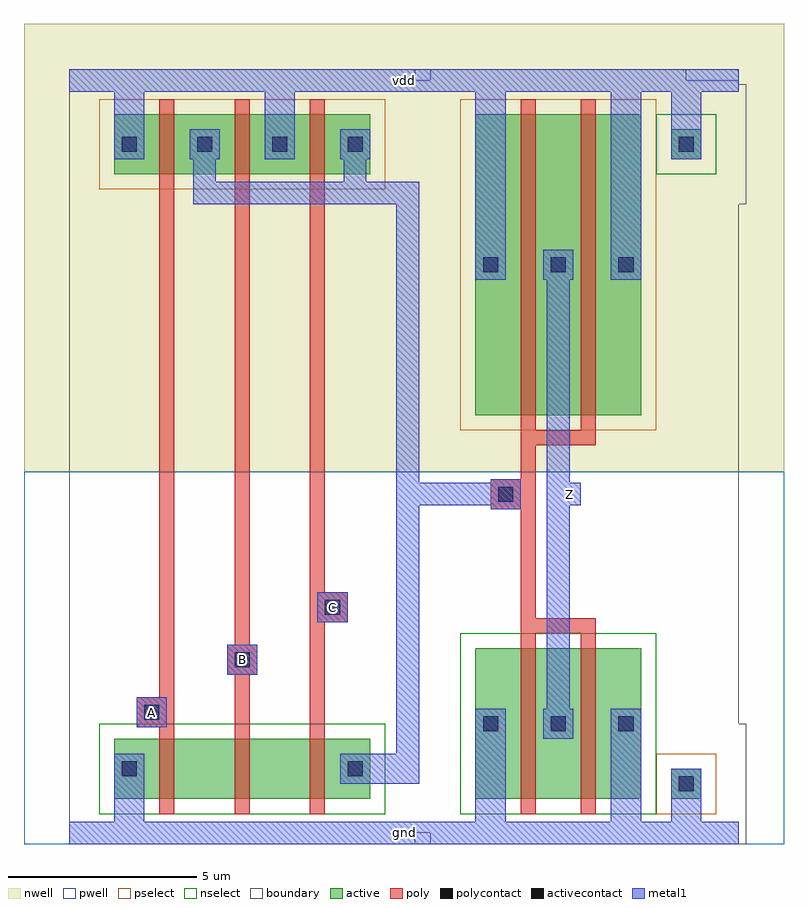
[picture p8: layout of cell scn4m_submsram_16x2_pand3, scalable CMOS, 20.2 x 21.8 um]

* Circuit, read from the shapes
.subckt scn4m_submsram_16x2_pand3 A B C Z gnd vdd
M1 scn4m_submsram_16x2_pnand3_0_0/scn4m_submsram_16x2_nmos_m1_w1_600_sm1_dactive_3/D A gnd gnd nfet w=1.6u l=0.4u
M2 scn4m_submsram_16x2_pnand3_0_0/scn4m_submsram_16x2_nmos_m1_w1_600_sactive_dactive_4/D B scn4m_submsram_16x2_pnand3_0_0/scn4m_submsram_16x2_nmos_m1_w1_600_sm1_dactive_3/D gnd nfet w=1.6u l=0.4u
M3 scn4m_submsram_16x2_pdriver_2_1/A C scn4m_submsram_16x2_pnand3_0_0/scn4m_submsram_16x2_nmos_m1_w1_600_sactive_dactive_4/D gnd nfet w=1.6u l=0.4u
M4 Z scn4m_submsram_16x2_pdriver_2_1/A gnd gnd nfet w=4u l=0.4u m=2
M5 scn4m_submsram_16x2_pdriver_2_1/A A vdd vdd pfet w=1.6u l=0.4u
M6 vdd B scn4m_submsram_16x2_pdriver_2_1/A vdd pfet w=1.6u l=0.4u
M7 scn4m_submsram_16x2_pdriver_2_1/A C vdd vdd pfet w=1.6u l=0.4u
M8 Z scn4m_submsram_16x2_pdriver_2_1/A vdd vdd pfet w=8u l=0.4u m=2
.ends

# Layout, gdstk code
import gdstk
lib = gdstk.Library(unit=1e-6, precision=1e-09)
def R(c, l, rs):  # rectangles x0, y0, x1, y1
    for r in rs: c.add(gdstk.rectangle(r[:2], r[2:], *l))
def A(c, l, x, y, w, h, nx, ny, dx, dy):  # array of equal rectangles
    R(c, l, [(x+i*dx, y+j*dy, x+i*dx+w, y+j*dy+h) for i in range(nx) for j in range(ny)])
pwell = (41, 0)
nwell = (42, 0)
active = (43, 0)
pselect = (44, 0)
nselect = (45, 0)
poly = (46, 0)
polycontact = (47, 0)
activecontact = (48, 0)
metal1 = (49, 0)
boundary = (63, 0)

scn4m_submsram_16x2_cont = lib.new_cell('scn4m_submsram_16x2_contact_12')
R(scn4m_submsram_16x2_cont, nwell, [(-1.2,-1.2,2,2)])
R(scn4m_submsram_16x2_cont, active, [(0,0,0.8,0.8)])
R(scn4m_submsram_16x2_cont, pselect, [(-0.4,-0.4,1.2,1.2)])
R(scn4m_submsram_16x2_cont, activecontact, [(0.2,0.2,0.6,0.6)])
R(scn4m_submsram_16x2_cont, metal1, [(0,0,0.8,0.8)])
R(scn4m_submsram_16x2_cont, boundary, [(-1.2,-1.2,2,2)])

scn4m_submsram_16x2_pmos = lib.new_cell('scn4m_submsram_16x2_pmos_m1_w1_600_sm1_dm1')
R(scn4m_submsram_16x2_pmos, nwell, [(-1.2,-1.2,4,2.8)])
R(scn4m_submsram_16x2_pmos, active, [(0,0,2.8,1.6)])
R(scn4m_submsram_16x2_pmos, pselect, [(-0.4,-0.4,3.2,2)])
R(scn4m_submsram_16x2_pmos, poly, [(1.2,-0.4,1.6,2), (1.2,-0.4,1.6,2)])
R(scn4m_submsram_16x2_pmos, metal1, [(0,0.4,0.8,1.2), (2,0.4,2.8,1.2)])
R(scn4m_submsram_16x2_pmos, boundary, [(-1.2,-1.2,4,2.8)])
scn4m_submsram_16x2_pmos.add(gdstk.Reference(scn4m_submsram_16x2_cont, (0,0.4)))
scn4m_submsram_16x2_pmos.add(gdstk.Reference(scn4m_submsram_16x2_cont, (2,0.4)))
scn4m_submsram_16x2_pmos.add(gdstk.Label('G', (1.4,0.8), layer=46, texttype=0))
scn4m_submsram_16x2_pmos.add(gdstk.Label('S', (0.4,0.8), layer=49, texttype=0))
scn4m_submsram_16x2_pmos.add(gdstk.Label('D', (2.4,0.8), layer=49, texttype=0))

c_scn4m_submsram_16x2_cont = lib.new_cell('scn4m_submsram_16x2_contact_11')
R(c_scn4m_submsram_16x2_cont, pwell, [(-1.2,-1.2,2,2)])
R(c_scn4m_submsram_16x2_cont, active, [(0,0,0.8,0.8)])
R(c_scn4m_submsram_16x2_cont, nselect, [(-0.4,-0.4,1.2,1.2)])
R(c_scn4m_submsram_16x2_cont, activecontact, [(0.2,0.2,0.6,0.6)])
R(c_scn4m_submsram_16x2_cont, metal1, [(0,0,0.8,0.8)])
R(c_scn4m_submsram_16x2_cont, boundary, [(-1.2,-1.2,2,2)])

scn4m_submsram_16x2_nmos = lib.new_cell('scn4m_submsram_16x2_nmos_m1_w1_600_sm1_dactive')
R(scn4m_submsram_16x2_nmos, pwell, [(-1.2,-1.2,4,2.8)])
R(scn4m_submsram_16x2_nmos, active, [(0,0,2.8,1.6), (2.1,0.5,2.7,1.1)])
R(scn4m_submsram_16x2_nmos, nselect, [(-0.4,-0.4,3.2,2)])
R(scn4m_submsram_16x2_nmos, poly, [(1.2,-0.4,1.6,2), (1.2,-0.4,1.6,2)])
R(scn4m_submsram_16x2_nmos, metal1, [(0,0.4,0.8,1.2)])
R(scn4m_submsram_16x2_nmos, boundary, [(-1.2,-1.2,4,2.8)])
scn4m_submsram_16x2_nmos.add(gdstk.Reference(c_scn4m_submsram_16x2_cont, (0,0.4)))
scn4m_submsram_16x2_nmos.add(gdstk.Label('G', (1.4,0.8), layer=46, texttype=0))
scn4m_submsram_16x2_nmos.add(gdstk.Label('S', (0.4,0.8), layer=49, texttype=0))
scn4m_submsram_16x2_nmos.add(gdstk.Label('D', (2.4,0.8), layer=43, texttype=0))

c_scn4m_submsram_16x2_nmos = lib.new_cell('scn4m_submsram_16x2_nmos_m1_w1_600_sactive_dactive')
R(c_scn4m_submsram_16x2_nmos, pwell, [(-1.2,-1.2,4,2.8)])
R(c_scn4m_submsram_16x2_nmos, active, [(0,0,2.8,1.6), (0.1,0.5,0.7,1.1), (2.1,0.5,2.7,1.1)])
R(c_scn4m_submsram_16x2_nmos, nselect, [(-0.4,-0.4,3.2,2)])
R(c_scn4m_submsram_16x2_nmos, poly, [(1.2,-0.4,1.6,2), (1.2,-0.4,1.6,2)])
R(c_scn4m_submsram_16x2_nmos, boundary, [(-1.2,-1.2,4,2.8)])
c_scn4m_submsram_16x2_nmos.add(gdstk.Label('G', (1.4,0.8), layer=46, texttype=0))
c_scn4m_submsram_16x2_nmos.add(gdstk.Label('S', (0.4,0.8), layer=43, texttype=0))
c_scn4m_submsram_16x2_nmos.add(gdstk.Label('D', (2.4,0.8), layer=43, texttype=0))

c_scn4m_submsram_16x2_nmos_ = lib.new_cell('scn4m_submsram_16x2_nmos_m1_w1_600_sactive_dm1')
R(c_scn4m_submsram_16x2_nmos_, pwell, [(-1.2,-1.2,4,2.8)])
R(c_scn4m_submsram_16x2_nmos_, active, [(0,0,2.8,1.6), (0.1,0.5,0.7,1.1)])
R(c_scn4m_submsram_16x2_nmos_, nselect, [(-0.4,-0.4,3.2,2)])
R(c_scn4m_submsram_16x2_nmos_, poly, [(1.2,-0.4,1.6,2), (1.2,-0.4,1.6,2)])
R(c_scn4m_submsram_16x2_nmos_, metal1, [(2,0.4,2.8,1.2)])
R(c_scn4m_submsram_16x2_nmos_, boundary, [(-1.2,-1.2,4,2.8)])
c_scn4m_submsram_16x2_nmos_.add(gdstk.Reference(c_scn4m_submsram_16x2_cont, (2,0.4)))
c_scn4m_submsram_16x2_nmos_.add(gdstk.Label('G', (1.4,0.8), layer=46, texttype=0))
c_scn4m_submsram_16x2_nmos_.add(gdstk.Label('S', (0.4,0.8), layer=43, texttype=0))
c_scn4m_submsram_16x2_nmos_.add(gdstk.Label('D', (2.4,0.8), layer=49, texttype=0))

c_scn4m_submsram_16x2_cont_ = lib.new_cell('scn4m_submsram_16x2_contact_15')
R(c_scn4m_submsram_16x2_cont_, poly, [(0,0,0.8,0.8)])
R(c_scn4m_submsram_16x2_cont_, polycontact, [(0.2,0.2,0.6,0.6)])
R(c_scn4m_submsram_16x2_cont_, metal1, [(0,0,0.8,0.8)])
R(c_scn4m_submsram_16x2_cont_, boundary, [(0,0,0.8,0.8)])

scn4m_submsram_16x2_pnan = lib.new_cell('scn4m_submsram_16x2_pnand3_0')
R(scn4m_submsram_16x2_pnan, pwell, [(-1.2,-0.3,10.8,9.6)])
R(scn4m_submsram_16x2_pnan, nwell, [(-1.2,9.6,10.8,21.5)])
A(scn4m_submsram_16x2_pnan, poly, 2.4, 2.9, 0.4, 14.2, 3, 1, 2, 0)
R(scn4m_submsram_16x2_pnan, poly, [(2.2,2.8,2.4,3.6), (4.4,4.2,4.6,5), (6.4,5.6,7,6.4)])
R(scn4m_submsram_16x2_pnan, metal1, [(0,-0.3,9.6,0.3), (1.2,-0.3,2,1.3), (7.6,1.3,9,2.1), (8.7,1.3,9.3,17), (1.8,2.8,2.6,3.6), (4.2,4.2,5,5), (6.6,5.6,7.4,6.4), (3.3,16.7,3.9,17.3), (3.6,16.7,9,17.3), (7.3,16.7,7.9,17.3), (7.6,16.7,9,17.3), (8.7,16.7,9.3,17.3), (3.3,17,3.9,18.3), (7.3,17,7.9,18.3), (1.2,17.9,2,20.3), (5.2,17.9,6,20.3), (0,19.7,9.6,20.3)])
R(scn4m_submsram_16x2_pnan, boundary, [(0,0,9.6,20), (0,0,9.6,20)])
scn4m_submsram_16x2_pnan.add(gdstk.Reference(scn4m_submsram_16x2_pmos, (1.2,17.5)))
scn4m_submsram_16x2_pnan.add(gdstk.Reference(scn4m_submsram_16x2_pmos, (3.2,17.5)))
scn4m_submsram_16x2_pnan.add(gdstk.Reference(scn4m_submsram_16x2_pmos, (5.2,17.5)))
scn4m_submsram_16x2_pnan.add(gdstk.Reference(scn4m_submsram_16x2_nmos, (1.2,0.9)))
scn4m_submsram_16x2_pnan.add(gdstk.Reference(c_scn4m_submsram_16x2_nmos, (3.2,0.9)))
scn4m_submsram_16x2_pnan.add(gdstk.Reference(c_scn4m_submsram_16x2_nmos_, (5.2,0.9)))
scn4m_submsram_16x2_pnan.add(gdstk.Reference(c_scn4m_submsram_16x2_cont_, (1.8,2.8)))
scn4m_submsram_16x2_pnan.add(gdstk.Reference(c_scn4m_submsram_16x2_cont_, (4.2,4.2)))
scn4m_submsram_16x2_pnan.add(gdstk.Reference(c_scn4m_submsram_16x2_cont_, (6.6,5.6)))
scn4m_submsram_16x2_pnan.add(gdstk.Label('A', (2.2,3.2), layer=49, texttype=0))
scn4m_submsram_16x2_pnan.add(gdstk.Label('B', (4.6,4.6), layer=49, texttype=0))
scn4m_submsram_16x2_pnan.add(gdstk.Label('C', (7,6), layer=49, texttype=0))
scn4m_submsram_16x2_pnan.add(gdstk.Label('Z', (9,17), layer=49, texttype=0))
scn4m_submsram_16x2_pnan.add(gdstk.Label('gnd', (4.8,0), layer=49, texttype=0))
scn4m_submsram_16x2_pnan.add(gdstk.Label('vdd', (4.8,20), layer=49, texttype=0))

c_scn4m_submsram_16x2_pmos = lib.new_cell('scn4m_submsram_16x2_pmos_m2_w8_000_sm1_dm1_da_p')
R(c_scn4m_submsram_16x2_pmos, nwell, [(-1.2,-1.2,5.6,9.2)])
R(c_scn4m_submsram_16x2_pmos, active, [(0,0,4.4,8)])
R(c_scn4m_submsram_16x2_pmos, pselect, [(-0.4,-0.4,4.8,8.4)])
R(c_scn4m_submsram_16x2_pmos, poly, [(1.2,-0.8,3.2,-0.4), (1.2,-0.4,1.6,8.4), (2.8,-0.4,3.2,8.4)])
A(c_scn4m_submsram_16x2_pmos, metal1, 0, 3.6, 0.8, 0.8, 3, 1, 1.8, 0)
R(c_scn4m_submsram_16x2_pmos, boundary, [(-1.2,-1.2,5.6,9.2)])
c_scn4m_submsram_16x2_pmos.add(gdstk.Reference(scn4m_submsram_16x2_cont, (0,3.6)))
c_scn4m_submsram_16x2_pmos.add(gdstk.Reference(scn4m_submsram_16x2_cont, (1.8,3.6)))
c_scn4m_submsram_16x2_pmos.add(gdstk.Reference(scn4m_submsram_16x2_cont, (3.6,3.6)))
c_scn4m_submsram_16x2_pmos.add(gdstk.Label('G', (2.2,-0.6), layer=46, texttype=0))
c_scn4m_submsram_16x2_pmos.add(gdstk.Label('S', (4,4), layer=49, texttype=0))
c_scn4m_submsram_16x2_pmos.add(gdstk.Label('S', (0.4,4), layer=49, texttype=0))
c_scn4m_submsram_16x2_pmos.add(gdstk.Label('D', (2.2,4), layer=49, texttype=0))

c_scn4m_submsram_16x2_nmos__ = lib.new_cell('scn4m_submsram_16x2_nmos_m2_w4_000_sm1_dm1_da_p')
R(c_scn4m_submsram_16x2_nmos__, pwell, [(-1.2,-1.2,5.6,5.2)])
R(c_scn4m_submsram_16x2_nmos__, active, [(0,0,4.4,4)])
R(c_scn4m_submsram_16x2_nmos__, nselect, [(-0.4,-0.4,4.8,4.4)])
R(c_scn4m_submsram_16x2_nmos__, poly, [(1.2,-0.4,1.6,4.4), (2.8,-0.4,3.2,4.4), (1.2,4.4,3.2,4.8)])
A(c_scn4m_submsram_16x2_nmos__, metal1, 0, 1.6, 0.8, 0.8, 3, 1, 1.8, 0)
R(c_scn4m_submsram_16x2_nmos__, boundary, [(-1.2,-1.2,5.6,5.2)])
c_scn4m_submsram_16x2_nmos__.add(gdstk.Reference(c_scn4m_submsram_16x2_cont, (0,1.6)))
c_scn4m_submsram_16x2_nmos__.add(gdstk.Reference(c_scn4m_submsram_16x2_cont, (1.8,1.6)))
c_scn4m_submsram_16x2_nmos__.add(gdstk.Reference(c_scn4m_submsram_16x2_cont, (3.6,1.6)))
c_scn4m_submsram_16x2_nmos__.add(gdstk.Label('G', (2.2,4.6), layer=46, texttype=0))
c_scn4m_submsram_16x2_nmos__.add(gdstk.Label('S', (0.4,2), layer=49, texttype=0))
c_scn4m_submsram_16x2_nmos__.add(gdstk.Label('S', (4,2), layer=49, texttype=0))
c_scn4m_submsram_16x2_nmos__.add(gdstk.Label('D', (2.2,2), layer=49, texttype=0))

c_scn4m_submsram_16x2_cont__ = lib.new_cell('scn4m_submsram_16x2_contact_13')
R(c_scn4m_submsram_16x2_cont__, nwell, [(-1.2,-1.2,2,2)])
R(c_scn4m_submsram_16x2_cont__, active, [(0,0,0.8,0.8)])
R(c_scn4m_submsram_16x2_cont__, nselect, [(-0.4,-0.4,1.2,1.2)])
R(c_scn4m_submsram_16x2_cont__, activecontact, [(0.2,0.2,0.6,0.6)])
R(c_scn4m_submsram_16x2_cont__, metal1, [(0,0,0.8,0.8)])
R(c_scn4m_submsram_16x2_cont__, boundary, [(-1.2,-1.2,2,2)])

c_scn4m_submsram_16x2_cont___ = lib.new_cell('scn4m_submsram_16x2_contact_14')
R(c_scn4m_submsram_16x2_cont___, pwell, [(-1.2,-1.2,2,2)])
R(c_scn4m_submsram_16x2_cont___, active, [(0,0,0.8,0.8)])
R(c_scn4m_submsram_16x2_cont___, pselect, [(-0.4,-0.4,1.2,1.2)])
R(c_scn4m_submsram_16x2_cont___, activecontact, [(0.2,0.2,0.6,0.6)])
R(c_scn4m_submsram_16x2_cont___, metal1, [(0,0,0.8,0.8)])
R(c_scn4m_submsram_16x2_cont___, boundary, [(-1.2,-1.2,2,2)])

scn4m_submsram_16x2_pinv = lib.new_cell('scn4m_submsram_16x2_pinv_9')
R(scn4m_submsram_16x2_pinv, pwell, [(-1.2,-0.3,9.4,9.6)])
R(scn4m_submsram_16x2_pinv, nwell, [(-1.2,9.6,9.4,21.5)])
R(scn4m_submsram_16x2_pinv, poly, [(2.4,5.7,2.8,10.3), (2,8.6,2.4,9.4)])
R(scn4m_submsram_16x2_pinv, metal1, [(0,-0.3,8.2,0.3), (1.2,-0.3,2,2.5), (4.8,-0.3,5.6,2.5), (6.4,0,7.2,1.3), (3.1,2.5,3.7,15.5), (1.6,8.6,2.4,9.4), (3.4,8.7,4,9.3), (1.2,14.7,2,20.3), (4.8,14.7,5.6,20.3), (6.4,18.3,7.2,20), (0,19.7,8.2,20.3)])
R(scn4m_submsram_16x2_pinv, boundary, [(0,0,8.2,20), (0,0,8.2,20)])
scn4m_submsram_16x2_pinv.add(gdstk.Reference(c_scn4m_submsram_16x2_pmos, (1.2,11.1)))
scn4m_submsram_16x2_pinv.add(gdstk.Reference(c_scn4m_submsram_16x2_nmos__, (1.2,0.9)))
scn4m_submsram_16x2_pinv.add(gdstk.Reference(c_scn4m_submsram_16x2_cont__, (6.4,17.9)))
scn4m_submsram_16x2_pinv.add(gdstk.Reference(c_scn4m_submsram_16x2_cont___, (6.4,0.9)))
scn4m_submsram_16x2_pinv.add(gdstk.Reference(c_scn4m_submsram_16x2_cont_, (1.6,8.6)))
scn4m_submsram_16x2_pinv.add(gdstk.Label('A', (2,9), layer=49, texttype=0))
scn4m_submsram_16x2_pinv.add(gdstk.Label('Z', (3.7,9), layer=49, texttype=0))
scn4m_submsram_16x2_pinv.add(gdstk.Label('gnd', (4.1,0), layer=49, texttype=0))
scn4m_submsram_16x2_pinv.add(gdstk.Label('vdd', (4.1,20), layer=49, texttype=0))

scn4m_submsram_16x2_pdri = lib.new_cell('scn4m_submsram_16x2_pdriver_2')
R(scn4m_submsram_16x2_pdri, pwell, [(-1.2,-0.3,9.4,9.6)])
R(scn4m_submsram_16x2_pdri, nwell, [(-1.2,9.6,9.4,21.5)])
R(scn4m_submsram_16x2_pdri, metal1, [(0,-0.3,8.2,0.3), (1.6,8.6,2.4,9.4), (3.4,8.7,4,9.3), (0,19.7,8.2,20.3)])
R(scn4m_submsram_16x2_pdri, boundary, [(0,0,8.2,20), (0,0,8.2,20)])
scn4m_submsram_16x2_pdri.add(gdstk.Reference(scn4m_submsram_16x2_pinv, (0,0)))
scn4m_submsram_16x2_pdri.add(gdstk.Label('Z', (3.7,9), layer=49, texttype=0))
scn4m_submsram_16x2_pdri.add(gdstk.Label('A', (2,9), layer=49, texttype=0))
scn4m_submsram_16x2_pdri.add(gdstk.Label('gnd', (4.1,0), layer=49, texttype=0))
scn4m_submsram_16x2_pdri.add(gdstk.Label('vdd', (4.1,20), layer=49, texttype=0))

scn4m_submsram_16x2_pand = lib.new_cell('scn4m_submsram_16x2_pand3')
R(scn4m_submsram_16x2_pand, metal1, [(0,-0.3,17.8,0.3), (1.8,2.8,2.6,3.6), (4.2,4.2,5,5), (6.6,5.6,7.4,6.4), (8.7,8.7,9.3,9.3), (9,8.7,11.6,9.3), (13,8.7,13.6,9.3), (8.7,9,9.3,17), (0,19.7,17.8,20.3)])
R(scn4m_submsram_16x2_pand, boundary, [(0,0,17.8,20), (0,0,17.8,20)])
scn4m_submsram_16x2_pand.add(gdstk.Reference(scn4m_submsram_16x2_pnan, (0,0)))
scn4m_submsram_16x2_pand.add(gdstk.Reference(scn4m_submsram_16x2_pdri, (9.6,0)))
scn4m_submsram_16x2_pand.add(gdstk.Label('Z', (13.3,9), layer=49, texttype=0))
scn4m_submsram_16x2_pand.add(gdstk.Label('A', (2.2,3.2), layer=49, texttype=0))
scn4m_submsram_16x2_pand.add(gdstk.Label('B', (4.6,4.6), layer=49, texttype=0))
scn4m_submsram_16x2_pand.add(gdstk.Label('C', (7,6), layer=49, texttype=0))
scn4m_submsram_16x2_pand.add(gdstk.Label('gnd', (8.9,0), layer=49, texttype=0))
scn4m_submsram_16x2_pand.add(gdstk.Label('vdd', (8.9,20), layer=49, texttype=0))

lib.write_gds('scn4m_submsram_16x2_pand3.gds')
